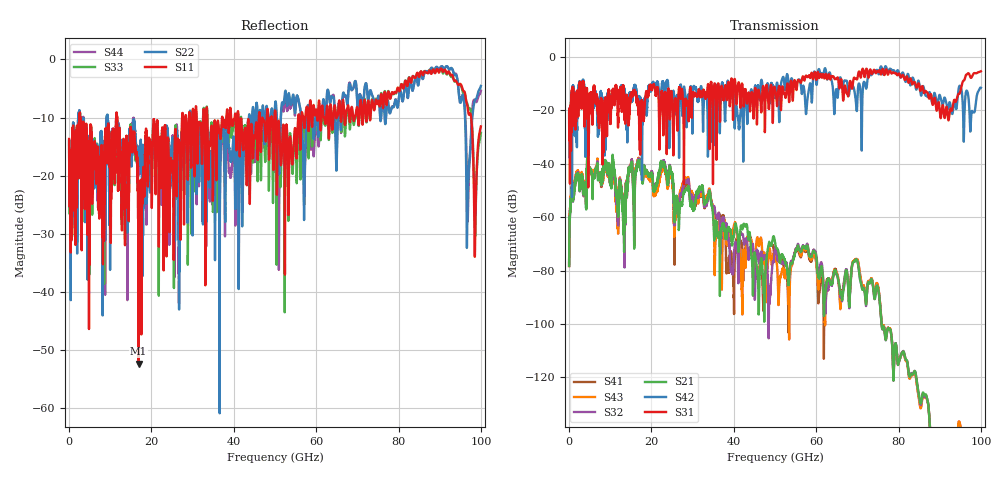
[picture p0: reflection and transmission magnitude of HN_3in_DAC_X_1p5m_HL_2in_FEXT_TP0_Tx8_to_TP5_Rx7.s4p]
# GHz S RI R 45
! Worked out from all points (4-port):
!   4000 points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, 25 MHz to 100 GHz, reference 45 ohm
!   strongest paths, dB at 25 MHz, 25.02 GHz, 50.02 GHz, 75.03 GHz, 100 GHz:
!     S31: -20.9, -15.6, -12.2, -5.7, -5.4
!     S42: -20.8, -16.2, -15.1, -5.7, -11.5
!     S21: -78.3, -43.8, -69.2, -86.5, -
!     S32: -77.3, -44.1, -71.7, -86.6, -197.2
!     S43: -78.3, -45.9, -73.9, -85.9, -196.1
!     S41: -78.3, -45.4, -73.3, -85.8, -
!   lowest |S11| = -52.3 dB at 16.9 GHz (marker M1), VSWR 1.00, Z = 45.2 - j0.103 ohm
!   |S11| at or under -10 dB: 2.709 GHz to 11.47 GHz (8.762 GHz wide, 124 % of centre); 11.68 GHz to 27.44 GHz (15.76 GHz wide, 80.6 % of centre); 50.2 GHz to 55.64 GHz (5.448 GHz wide, 10.3 % of centre)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
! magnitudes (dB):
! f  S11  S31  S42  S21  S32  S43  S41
! 25 MHz  -13.7  -20.9  -20.8  -78.3  -77.3  -78.3  -78.3
! 1.9 GHz  -16.6  -17.0  -25.7  -43.8  -43.5  -42.8  -43.6
! 16.9 GHz  -52.3  -21.3  -17.3  -38.6  -38.1  -37.8  -38.0
! 34.15 GHz  -14.3  -26.9  -13.5  -50.3  -50.1  -49.6  -50.0
! 38.62 GHz  -11.0  -9.6  -9.1  -64.0  -67.0  -69.6  -78.7
! 96.88 GHz  -8.8  -6.2  -14.0  -162.1  -160.9  -159.7  -161.1
! 100 GHz  -11.5  -5.4  -11.5  -  -197.2  -196.1  -
